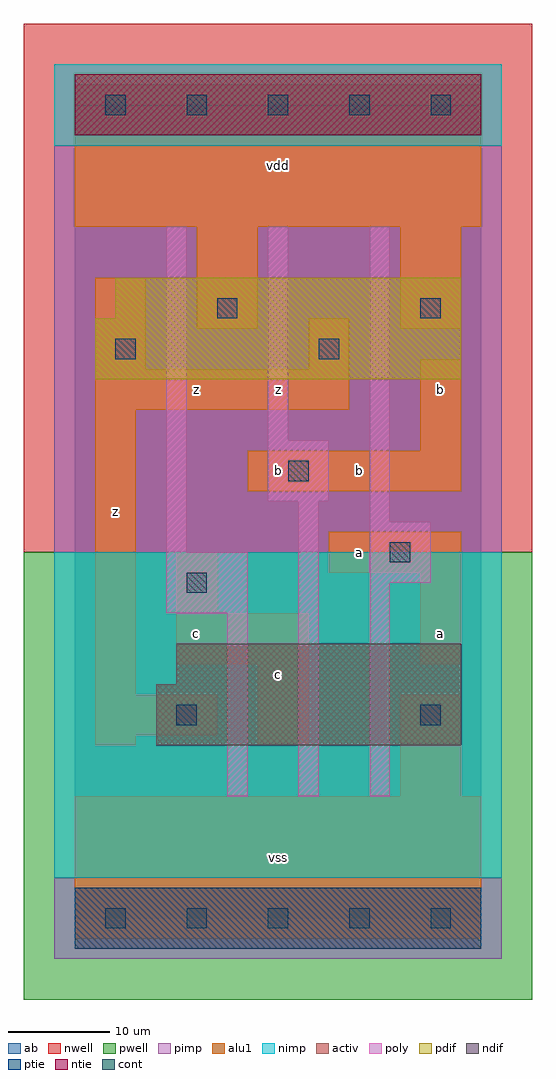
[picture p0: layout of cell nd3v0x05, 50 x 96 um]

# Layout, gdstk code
import gdstk
lib = gdstk.Library(unit=1e-6, precision=1e-09)
def R(c, l, rs):  # rectangles x0, y0, x1, y1
    for r in rs: c.add(gdstk.rectangle(r[:2], r[2:], *l))
def A(c, l, x, y, w, h, nx, ny, dx, dy):  # array of equal rectangles
    R(c, l, [(x+i*dx, y+j*dy, x+i*dx+w, y+j*dy+h) for i in range(nx) for j in range(ny)])
ndif = (3, 0)
pdif = (4, 0)
ntie = (5, 0)
ptie = (6, 0)
cont = (25, 0)
pwell = (41, 0)
nwell = (42, 0)
activ = (43, 0)
pimp = (44, 0)
nimp = (45, 0)
poly = (46, 0)
alu1 = (49, 0)
ab = (63, 0)

nd3v0x05 = lib.new_cell('nd3v0x05')
R(nd3v0x05, ndif, [(8,17,38,23), (10,23,38,27)])
R(nd3v0x05, pdif, [(2,53,38,59), (4,59,38,63)])
R(nd3v0x05, ntie, [(0,77,40,83)])
R(nd3v0x05, ptie, [(0,-3,40,3)])
A(nd3v0x05, cont, 3, -1, 2, 2, 5, 2, 8, 80)
R(nd3v0x05, cont, [(10,19,12,21), (34,19,36,21), (11,32,13,34), (31,35,33,37), (21,43,23,45), (4,55,6,57), (24,55,26,57), (14,59,16,61), (34,59,36,61)])
R(nd3v0x05, pwell, [(-5,-8,45,36)])
R(nd3v0x05, nwell, [(-5,36,45,88)])
R(nd3v0x05, activ, [(0,-3,40,3), (8,17,38,23), (10,23,38,27), (2,53,38,59), (4,59,38,63), (0,77,40,83)])
R(nd3v0x05, pimp, [(-2,-4,42,4), (-2,36,42,76)])
R(nd3v0x05, nimp, [(-2,4,42,36), (-2,76,42,84)])
R(nd3v0x05, poly, [(15,12,17,30), (22,12,24,41), (29,12,31,33), (9,30,17,36), (29,33,35,39), (9,36,11,68), (29,39,31,68), (19,41,25,47), (19,47,21,68)])
R(nd3v0x05, alu1, [(0,-2,40,12), (32,12,38,22), (2,17,6,18), (18,17,23,25), (2,18,14,22), (2,22,6,50), (10,25,23,30), (34,25,38,34), (10,30,14,36), (25,34,38,38), (17,42,38,46), (34,46,38,55), (2,50,27,54), (2,54,7,63), (23,54,27,59), (12,58,18,68), (32,58,38,68), (0,68,40,82)])
R(nd3v0x05, ab, [(0,0,40,80)])
nd3v0x05.add(gdstk.Label('z', (4,40), layer=49, texttype=0))
nd3v0x05.add(gdstk.Label('c', (12,28), layer=49, texttype=0))
nd3v0x05.add(gdstk.Label('z', (12,52), layer=49, texttype=0))
nd3v0x05.add(gdstk.Label('vss', (20,6), layer=49, texttype=0))
nd3v0x05.add(gdstk.Label('c', (20,24), layer=49, texttype=0))
nd3v0x05.add(gdstk.Label('a', (28,36), layer=49, texttype=0))
nd3v0x05.add(gdstk.Label('b', (28,44), layer=49, texttype=0))
nd3v0x05.add(gdstk.Label('b', (20,44), layer=49, texttype=0))
nd3v0x05.add(gdstk.Label('z', (20,52), layer=49, texttype=0))
nd3v0x05.add(gdstk.Label('vdd', (20,74), layer=49, texttype=0))
nd3v0x05.add(gdstk.Label('a', (36,28), layer=49, texttype=0))
nd3v0x05.add(gdstk.Label('b', (36,52), layer=49, texttype=0))

lib.write_gds('nd3v0x05.gds')
